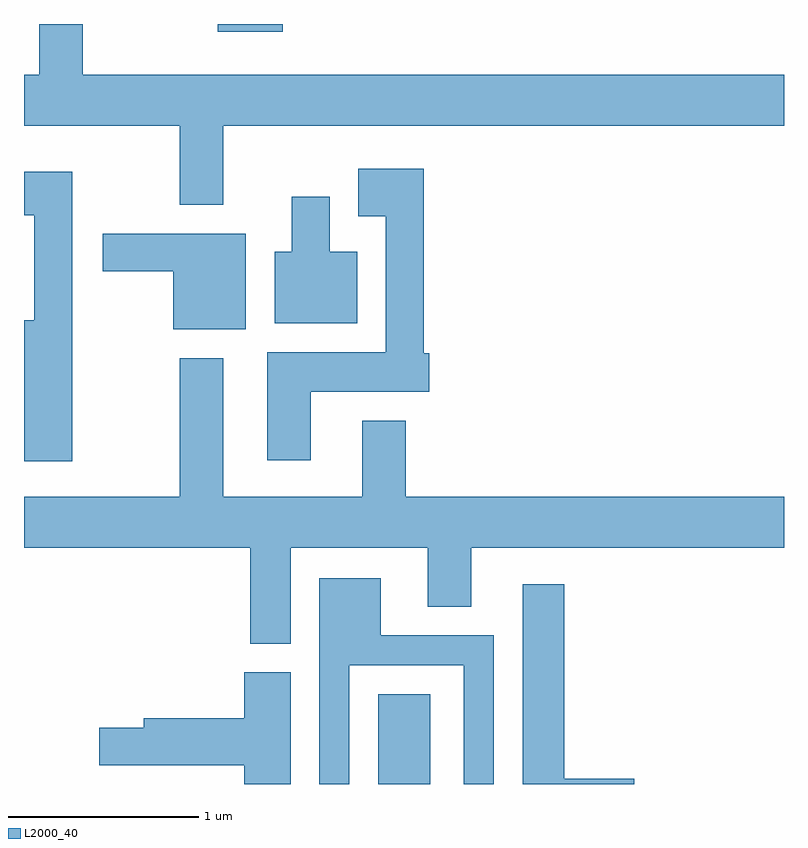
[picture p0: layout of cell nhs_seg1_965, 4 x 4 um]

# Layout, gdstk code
import gdstk
lib = gdstk.Library(unit=1e-6, precision=1e-09)
def R(c, l, rs):  # rectangles x0, y0, x1, y1
    for r in rs: c.add(gdstk.rectangle(r[:2], r[2:], *l))
def P(c, l, *ps):  # polygons
    for p in ps: c.add(gdstk.Polygon(p, *l))
L2000_40 = (2000, 40)

nhs_seg1_965 = lib.new_cell('nhs_seg1_965')
R(nhs_seg1_965, L2000_40, [(217.476,851.712,217.749,852.184), (216.631,855.671,216.974,855.712)])
P(nhs_seg1_965, L2000_40, [(216.659,855.176),(219.611,855.176),(219.611,855.444),(215.919,855.444),(215.919,855.712),(215.691,855.712),(215.691,855.444),(215.611,855.444),(215.611,855.176),(216.431,855.176),(216.431,854.761),(216.659,854.761)],
  [(217.119,853.776),(217.744,853.776),(217.744,853.979),(217.714,853.979),(217.714,854.949),(217.371,854.949),(217.371,854.701),(217.516,854.701),(217.516,853.984),(216.891,853.984),(216.891,853.416),(217.119,853.416)],
  [(215.864,854.934),(215.611,854.934),(215.611,854.706),(215.666,854.706),(215.666,854.154),(215.611,854.154),(215.611,853.411),(215.864,853.411)],
  [(217.364,854.514),(217.219,854.514),(217.219,854.804),(217.021,854.804),(217.021,854.514),(216.931,854.514),(216.931,854.136),(217.364,854.136)],
  [(216.779,854.609),(216.026,854.609),(216.026,854.411),(216.396,854.411),(216.396,854.106),(216.779,854.106)],
  [(217.014,852.956),(217.736,852.956),(217.736,852.646),(217.964,852.646),(217.964,852.956),(219.611,852.956),(219.611,853.224),(217.619,853.224),(217.619,853.624),(217.391,853.624),(217.391,853.224),(216.659,853.224),(216.659,853.954),(216.431,853.954),(216.431,853.224),(215.611,853.224),(215.611,852.956),(216.801,852.956),(216.801,852.451),(217.014,852.451)],
  [(217.324,852.336),(217.926,852.336),(217.926,851.712),(218.084,851.712),(218.084,852.494),(217.489,852.494),(217.489,852.794),(217.166,852.794),(217.166,851.712),(217.324,851.712)],
  [(218.824,851.739),(218.454,851.739),(218.454,852.764),(218.236,852.764),(218.236,851.712),(218.824,851.712)],
  [(217.014,852.299),(216.771,852.299),(216.771,852.059),(216.241,852.059),(216.241,852.009),(216.006,852.009),(216.006,851.811),(216.771,851.811),(216.771,851.712),(217.014,851.712)])

lib.write_gds('nhs_seg1_965.gds')
